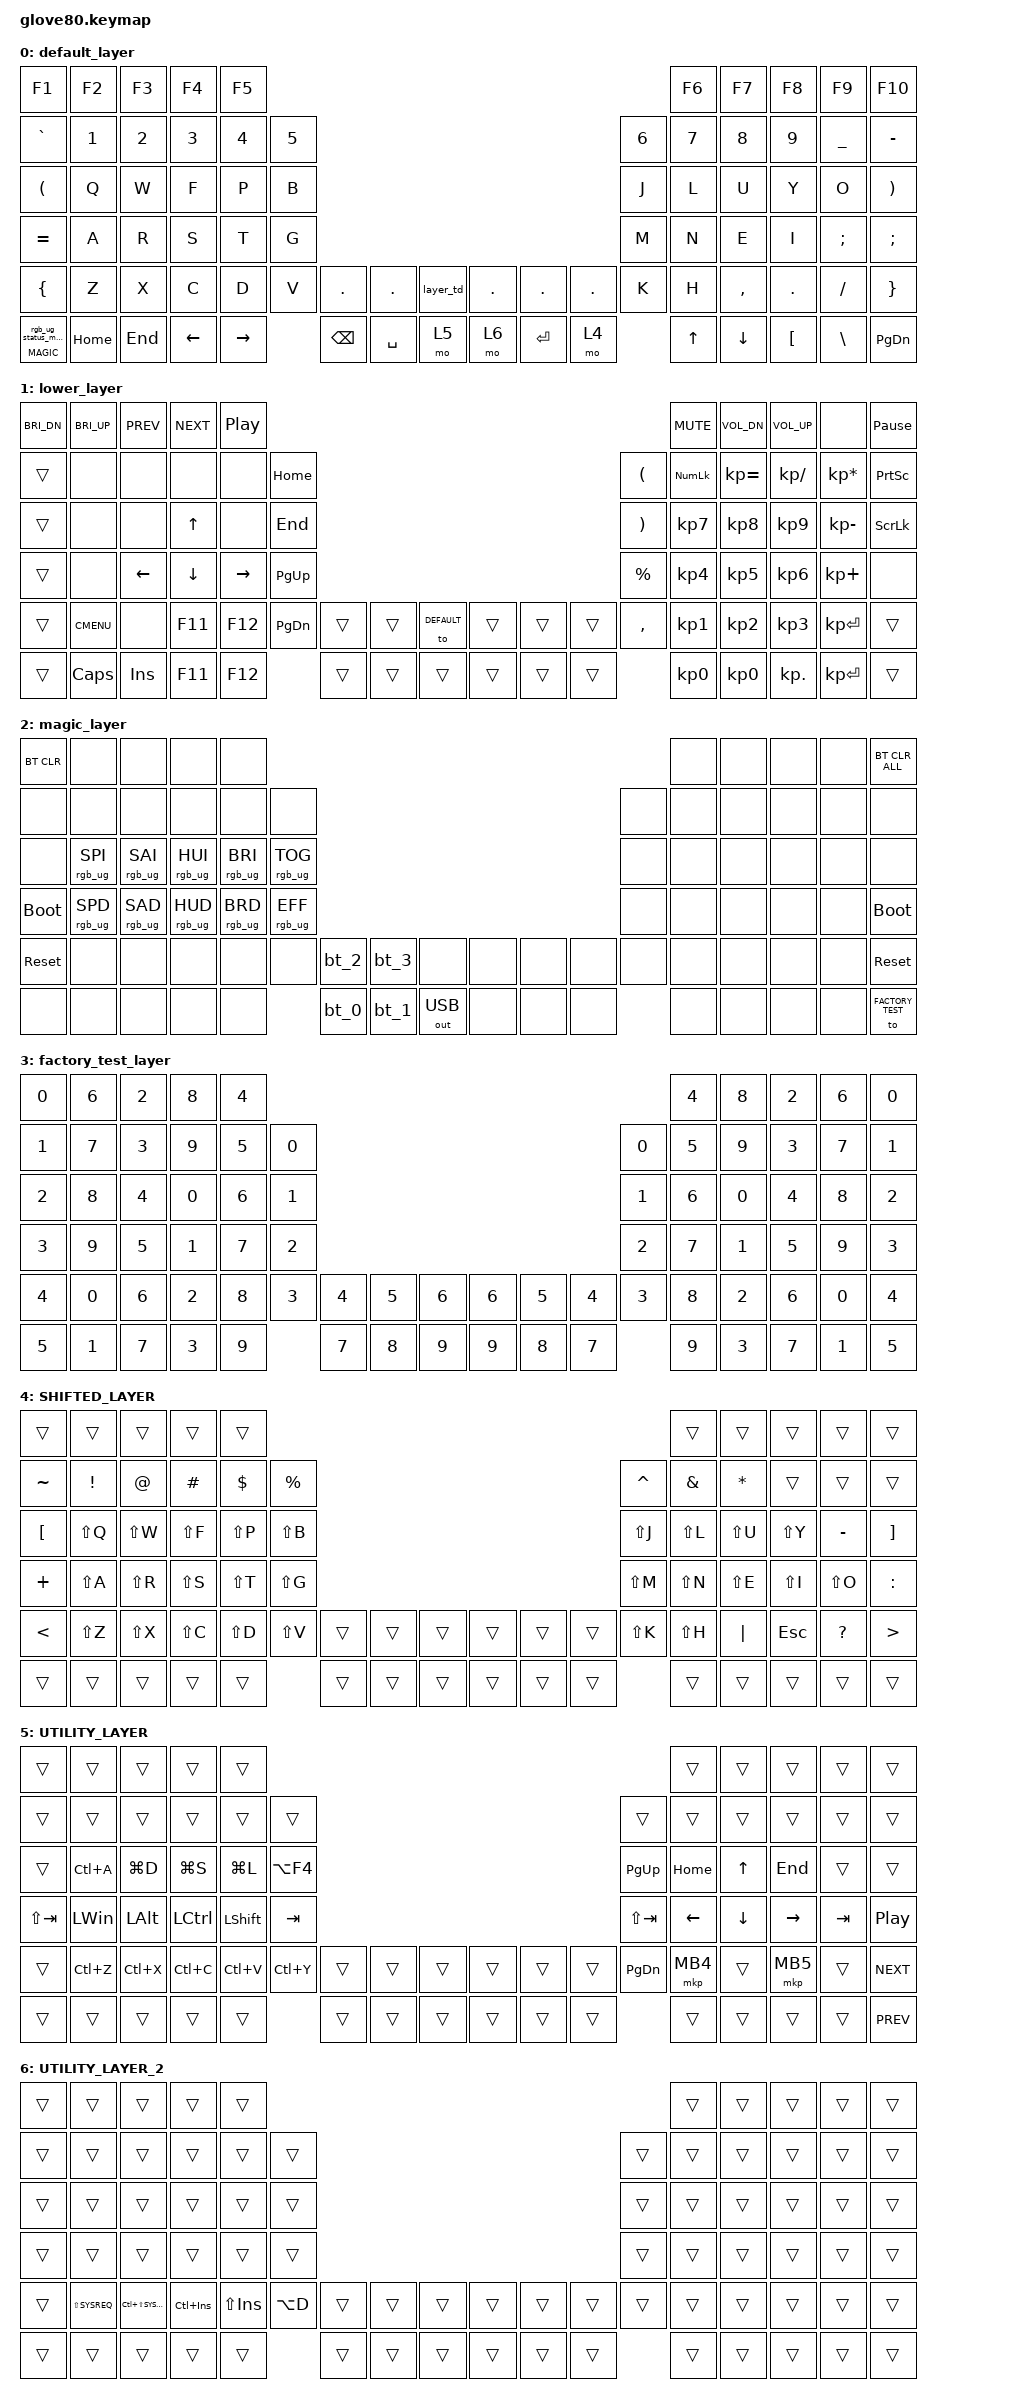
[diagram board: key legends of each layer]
/*
 * Copyright (c) 2020 The ZMK Contributors
 *
 * SPDX-License-Identifier: MIT
 */

#include <dt-bindings/zmk/mouse.h>
#include <behaviors.dtsi>
#include <dt-bindings/zmk/bt.h>
#include <dt-bindings/zmk/keys.h>
#include <dt-bindings/zmk/outputs.h>
#include <dt-bindings/zmk/pointing.h>
#include <dt-bindings/zmk/rgb.h>

#define HYPER LC(LS(LG(LALT)))

// layers

#define DEFAULT 0
#define LOWER 1
#define MAGIC 2
#define FACTORY_TEST 3

/ {
    behaviors {
        // For the "layer" key, it'd nice to be able to use it as either a shift or a toggle.
        // Configure it as a tap dance, so the first tap (or hold) is a &mo and the second tap is a &to

        layer_td: tap_dance_0 {
            compatible = "zmk,behavior-tap-dance";
            label = "LAYER_TAP_DANCE";
            #binding-cells = <0>;
            tapping-term-ms = <200>;
            bindings = <&mo LOWER>, <&to LOWER>;
        };

        magic: magic_hold_tap {
            compatible = "zmk,behavior-hold-tap";
            label = "MAGIC_HOLD_TAP";
            #binding-cells = <2>;
            flavor = "tap-preferred";
            tapping-term-ms = <200>;
            bindings = <&mo>, <&rgb_ug_status_macro>;
        };
    };

    macros {
        rgb_ug_status_macro: rgb_ug_status_macro_0 {
            label = "RGB_UG_STATUS";
            compatible = "zmk,behavior-macro";
            #binding-cells = <0>;
            bindings = <&rgb_ug RGB_STATUS>;
        };

        bt_0: bt_profile_macro_0 {
            label = "BT_0";
            compatible = "zmk,behavior-macro";
            #binding-cells = <0>;
            bindings = <&out OUT_BLE &bt BT_SEL 0>;
        };

        bt_1: bt_profile_macro_1 {
            label = "BT_1";
            compatible = "zmk,behavior-macro";
            #binding-cells = <0>;
            bindings = <&out OUT_BLE &bt BT_SEL 1>;
        };

        bt_2: bt_profile_macro_2 {
            label = "BT_2";
            compatible = "zmk,behavior-macro";
            #binding-cells = <0>;
            bindings = <&out OUT_BLE &bt BT_SEL 2>;
        };

        bt_3: bt_profile_macro_3 {
            label = "BT_3";
            compatible = "zmk,behavior-macro";
            #binding-cells = <0>;
            bindings = <&out OUT_BLE &bt BT_SEL 3>;
        };
    };

    keymap {
        compatible = "zmk,keymap";

        default_layer {
            // ---------------------------------------------------------------------------------------------------------------------------------
            // |  F1   |  F2 |  F3 |  F4  |  F5  |                                                               |  F6   |  F7   |  F8  |   F9  |  F10 |
            // |  =    |  1  |  2  |  3   |  4   |  5   |                                                 |  6   |   7   |   8   |  9   |   0   |   -  |
            // |  TAB  |  Q  |  W  |  E   |  R   |  T   |                                                 |  Y   |   U   |   I   |  O   |   P   |   \  |
            // |  ESC  |  A  |  S  |  D   |  F   |  G   |                                                 |  H   |   J   |   K   |  L   |   ;   |   '  |
            // |   `   |  Z  |  X  |  C   |  V   |  B   | LSHFT | LCTRL | LOWER | | LGUI  | RCTRL | RSHFT |  N   |   M   |   ,   |  .   |   /   | PGUP |
            // | MAGIC | HOME| END | LEFT | RIGHT|      | BSPC  | DEL   | LALT  | | RALT  | RET   | SPACE |      |  UP   | DOWN  |  [   |   ]   | PGDN |

            bindings = <
&kp F1                &kp F2    &kp F3   &kp F4    &kp F5                                                                                            &kp F6  &kp F7     &kp F8    &kp F9          &kp F10
&kp GRAVE             &kp N1    &kp N2   &kp N3    &kp N4     &kp N5                                                                         &kp N6  &kp N7  &kp N8     &kp N9    &kp UNDERSCORE  &kp MINUS
&kp LEFT_PARENTHESIS  &kp Q     &kp W    &kp F     &kp P      &kp B                                                                          &kp J   &kp L   &kp U      &kp Y     &kp O           &kp RIGHT_PARENTHESIS
&kp EQUAL             &kp A     &kp R    &kp S     &kp T      &kp G                                                                          &kp M   &kp N   &kp E      &kp I     &kp SEMI        &kp SEMICOLON
&kp LEFT_BRACE        &kp Z     &kp X    &kp C     &kp D      &kp V   &kp PERIOD  &kp PERIOD  &layer_td  &kp PERIOD  &kp PERIOD  &kp PERIOD  &kp K   &kp H   &kp COMMA  &kp DOT   &kp FSLH        &kp RIGHT_BRACE
&magic MAGIC 0        &kp HOME  &kp END  &kp LEFT  &kp RIGHT          &kp BSPC    &kp SPACE   &mo 5      &mo 6       &kp ENTER   &mo 4               &kp UP  &kp DOWN   &kp LBKT  &kp BACKSLASH   &kp PG_DN
            >;
        };

        lower_layer {
            bindings = <
&kp C_BRI_DN  &kp C_BRI_UP  &kp C_PREV  &kp C_NEXT  &kp C_PP                                                                              &kp C_MUTE  &kp C_VOL_DN  &kp C_VOL_UP   &none            &kp PAUSE_BREAK
&trans        &none         &none       &none       &none      &kp HOME                                                        &kp LPAR   &kp KP_NUM  &kp KP_EQUAL  &kp KP_DIVIDE  &kp KP_MULTIPLY  &kp PSCRN
&trans        &none         &none       &kp UP      &none      &kp END                                                         &kp RPAR   &kp KP_N7   &kp KP_N8     &kp KP_N9      &kp KP_MINUS     &kp SLCK
&trans        &none         &kp LEFT    &kp DOWN    &kp RIGHT  &kp PG_UP                                                       &kp PRCNT  &kp KP_N4   &kp KP_N5     &kp KP_N6      &kp KP_PLUS      &none
&trans        &kp K_CMENU   &none       &kp F11     &kp F12    &kp PG_DN  &trans  &trans  &to DEFAULT  &trans  &trans  &trans  &kp COMMA  &kp KP_N1   &kp KP_N2     &kp KP_N3      &kp KP_ENTER     &trans
&trans        &kp CAPS      &kp INS     &kp F11     &kp F12               &trans  &trans  &trans       &trans  &trans  &trans             &kp KP_N0   &kp KP_N0     &kp KP_DOT     &kp KP_ENTER     &trans
            >;
        };

        magic_layer {
            bindings = <
&bt BT_CLR   &none            &none            &none            &none                                                                                     &none  &none  &none  &none  &bt BT_CLR_ALL
&none        &none            &none            &none            &none            &none                                                             &none  &none  &none  &none  &none  &none
&none        &rgb_ug RGB_SPI  &rgb_ug RGB_SAI  &rgb_ug RGB_HUI  &rgb_ug RGB_BRI  &rgb_ug RGB_TOG                                                   &none  &none  &none  &none  &none  &none
&bootloader  &rgb_ug RGB_SPD  &rgb_ug RGB_SAD  &rgb_ug RGB_HUD  &rgb_ug RGB_BRD  &rgb_ug RGB_EFF                                                   &none  &none  &none  &none  &none  &bootloader
&sys_reset   &none            &none            &none            &none            &none            &bt_2  &bt_3  &none         &none  &none  &none  &none  &none  &none  &none  &none  &sys_reset
&none        &none            &none            &none            &none                             &bt_0  &bt_1  &out OUT_USB  &none  &none  &none         &none  &none  &none  &none  &to FACTORY_TEST
            >;
        };

        factory_test_layer {
            bindings = <
&kp N0  &kp N6  &kp N2  &kp N8  &kp N4                                                                  &kp N4  &kp N8  &kp N2  &kp N6  &kp N0
&kp N1  &kp N7  &kp N3  &kp N9  &kp N5  &kp N0                                                  &kp N0  &kp N5  &kp N9  &kp N3  &kp N7  &kp N1
&kp N2  &kp N8  &kp N4  &kp N0  &kp N6  &kp N1                                                  &kp N1  &kp N6  &kp N0  &kp N4  &kp N8  &kp N2
&kp N3  &kp N9  &kp N5  &kp N1  &kp N7  &kp N2                                                  &kp N2  &kp N7  &kp N1  &kp N5  &kp N9  &kp N3
&kp N4  &kp N0  &kp N6  &kp N2  &kp N8  &kp N3  &kp N4  &kp N5  &kp N6  &kp N6  &kp N5  &kp N4  &kp N3  &kp N8  &kp N2  &kp N6  &kp N0  &kp N4
&kp N5  &kp N1  &kp N7  &kp N3  &kp N9          &kp N7  &kp N8  &kp N9  &kp N9  &kp N8  &kp N7          &kp N9  &kp N3  &kp N7  &kp N1  &kp N5
            >;
        };

        SHIFTED_LAYER {
            bindings = <
&trans            &trans           &trans       &trans     &trans                                                                              &trans         &trans        &trans      &trans        &trans
&kp TILDE         &kp EXCLAMATION  &kp AT_SIGN  &kp HASH   &kp DOLLAR  &kp PERCENT                                                  &kp CARET  &kp AMPERSAND  &kp ASTERISK  &trans      &trans        &trans
&kp LEFT_BRACKET  &kp LS(Q)        &kp LS(W)    &kp LS(F)  &kp LS(P)   &kp LS(B)                                                    &kp LS(J)  &kp LS(L)      &kp LS(U)     &kp LS(Y)   &kp MINUS     &kp RIGHT_BRACKET
&kp PLUS          &kp LS(A)        &kp LS(R)    &kp LS(S)  &kp LS(T)   &kp LS(G)                                                    &kp LS(M)  &kp LS(N)      &kp LS(E)     &kp LS(I)   &kp LS(O)     &kp COLON
&kp LESS_THAN     &kp LS(Z)        &kp LS(X)    &kp LS(C)  &kp LS(D)   &kp LS(V)    &trans  &trans  &trans  &trans  &trans  &trans  &kp LS(K)  &kp LS(H)      &kp PIPE      &kp ESCAPE  &kp QUESTION  &kp GREATER_THAN
&trans            &trans           &trans       &trans     &trans                   &trans  &trans  &trans  &trans  &trans  &trans             &trans         &trans        &trans      &trans        &trans
            >;
        };

        UTILITY_LAYER {
            bindings = <
&trans       &trans        &trans        &trans            &trans                                                                                     &trans          &trans        &trans           &trans   &trans
&trans       &trans        &trans        &trans            &trans          &trans                                                      &trans         &trans          &trans        &trans           &trans   &trans
&trans       &kp LC(A)     &kp LG(D)     &kp LG(S)         &kp LG(L)       &kp LA(F4)                                                  &kp PAGE_UP    &kp HOME        &kp UP_ARROW  &kp END          &trans   &trans
&kp LS(TAB)  &kp LEFT_WIN  &kp LEFT_ALT  &kp LEFT_CONTROL  &kp LEFT_SHIFT  &kp TAB                                                     &kp LS(TAB)    &kp LEFT_ARROW  &kp DOWN      &kp RIGHT_ARROW  &kp TAB  &kp C_PLAY_PAUSE
&trans       &kp LC(Z)     &kp LC(X)     &kp LC(C)         &kp LC(V)       &kp LC(Y)   &trans  &trans  &trans  &trans  &trans  &trans  &kp PAGE_DOWN  &mkp MB4        &trans        &mkp MB5         &trans   &kp C_NEXT
&trans       &trans        &trans        &trans            &trans                      &trans  &trans  &trans  &trans  &trans  &trans                 &trans          &trans        &trans           &trans   &kp C_PREV
            >;
        };

        UTILITY_LAYER_2 {
            bindings = <
&trans  &trans          &trans              &trans       &trans                                                                          &trans  &trans  &trans  &trans  &trans
&trans  &trans          &trans              &trans       &trans       &trans                                                     &trans  &trans  &trans  &trans  &trans  &trans
&trans  &trans          &trans              &trans       &trans       &trans                                                     &trans  &trans  &trans  &trans  &trans  &trans
&trans  &trans          &trans              &trans       &trans       &trans                                                     &trans  &trans  &trans  &trans  &trans  &trans
&trans  &kp LS(SYSREQ)  &kp LC(LS(SYSREQ))  &kp LC(INS)  &kp LS(INS)  &kp LA(D)  &trans  &trans  &trans  &trans  &trans  &trans  &trans  &trans  &trans  &trans  &trans  &trans
&trans  &trans          &trans              &trans       &trans                  &trans  &trans  &trans  &trans  &trans  &trans          &trans  &trans  &trans  &trans  &trans
            >;
        };
    };
};
